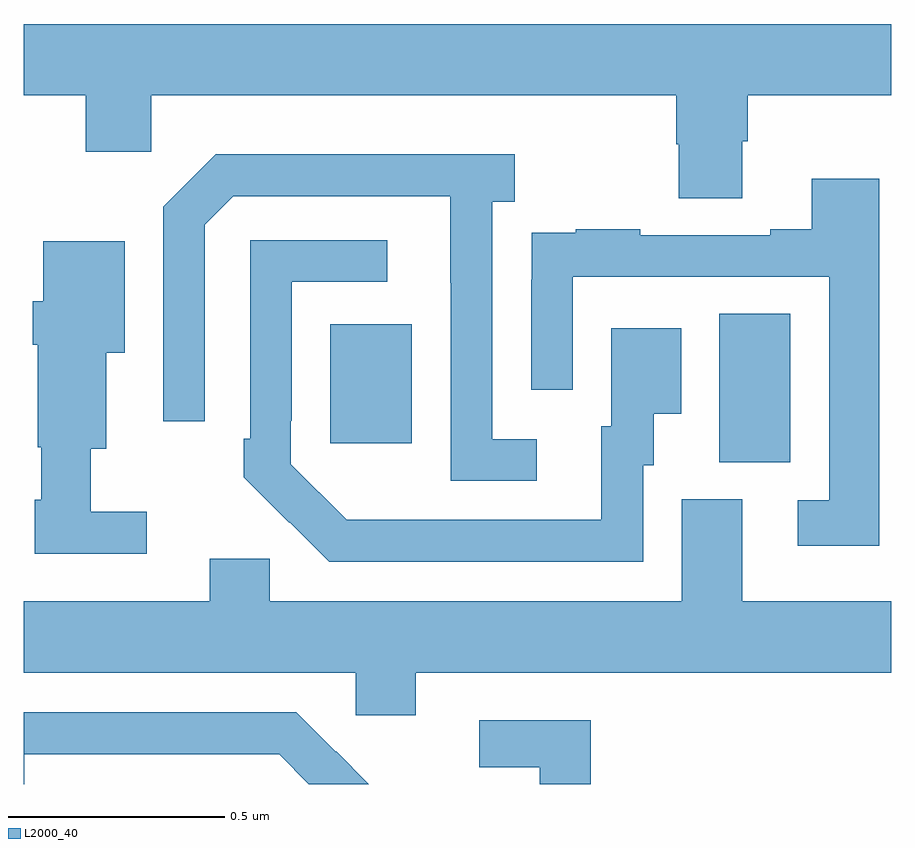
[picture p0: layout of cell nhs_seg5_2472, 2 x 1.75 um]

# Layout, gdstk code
import gdstk
lib = gdstk.Library(unit=1e-6, precision=1e-09)
def R(c, l, rs):  # rectangles x0, y0, x1, y1
    for r in rs: c.add(gdstk.rectangle(r[:2], r[2:], *l))
def P(c, l, *ps):  # polygons
    for p in ps: c.add(gdstk.Polygon(p, *l))
L2000_40 = (2000, 40)

nhs_seg5_2472 = lib.new_cell('nhs_seg5_2472')
R(nhs_seg5_2472, L2000_40, [(145.604,894.541,145.768,894.884), (144.707,894.585,144.895,894.859)])
P(nhs_seg5_2472, L2000_40, [(145.657,895.282),(145.67,895.282),(145.67,895.388),(146,895.388),(146,895.552),(144,895.552),(144,895.388),(144.143,895.388),(144.143,895.257),(144.294,895.257),(144.294,895.388),(145.505,895.388),(145.505,895.275),(145.51,895.275),(145.51,895.15),(145.657,895.15)],
  [(145.183,894.594),(145.08,894.594),(145.08,895.142),(145.132,895.142),(145.132,895.252),(144.442,895.252),(144.321,895.131),(144.321,894.636),(144.417,894.636),(144.417,895.089),(144.483,895.155),(144.983,895.155),(144.983,894.955),(144.984,894.955),(144.984,894.498),(145.183,894.498)],
  [(145.973,895.195),(145.817,895.195),(145.817,895.078),(145.721,895.078),(145.721,895.065),(145.421,895.065),(145.421,895.078),(145.273,895.078),(145.273,895.071),(145.171,895.071),(145.171,894.962),(145.17,894.962),(145.17,894.708),(145.266,894.708),(145.266,894.969),(145.857,894.969),(145.857,894.453),(145.785,894.453),(145.785,894.348),(145.973,894.348)],
  [(145.428,894.534),(145.453,894.534),(145.453,894.653),(145.516,894.653),(145.516,894.85),(145.355,894.85),(145.355,894.624),(145.331,894.624),(145.331,894.408),(144.847,894.408),(144.847,894.409),(144.744,894.409),(144.615,894.537),(144.615,894.637),(144.618,894.637),(144.618,894.957),(144.838,894.957),(144.838,895.053),(144.522,895.053),(144.522,894.595),(144.507,894.595),(144.507,894.507),(144.612,894.402),(144.613,894.403),(144.704,894.312),(145.428,894.312)],
  [(144.283,894.427),(144.154,894.427),(144.154,894.572),(144.19,894.572),(144.19,894.794),(144.232,894.794),(144.232,895.051),(144.044,895.051),(144.044,894.912),(144.02,894.912),(144.02,894.812),(144.032,894.812),(144.032,894.576),(144.04,894.576),(144.04,894.455),(144.025,894.455),(144.025,894.33),(144.283,894.33)],
  [(144.904,894.056),(146,894.056),(146,894.22),(145.657,894.22),(145.657,894.456),(145.517,894.456),(145.517,894.22),(144.567,894.22),(144.567,894.318),(144.428,894.318),(144.428,894.22),(144,894.22),(144,894.056),(144.765,894.056),(144.765,893.958),(144.904,893.958)],
  [(144.001,893.868),(144.589,893.868),(144.657,893.799),(144.795,893.799),(144.72,893.874),(144.719,893.873),(144.628,893.964),(144,893.964),(144,893.799),(144.001,893.799)],
  [(145.307,893.946),(145.05,893.946),(145.05,893.838),(145.19,893.838),(145.19,893.799),(145.307,893.799)])

lib.write_gds('nhs_seg5_2472.gds')
